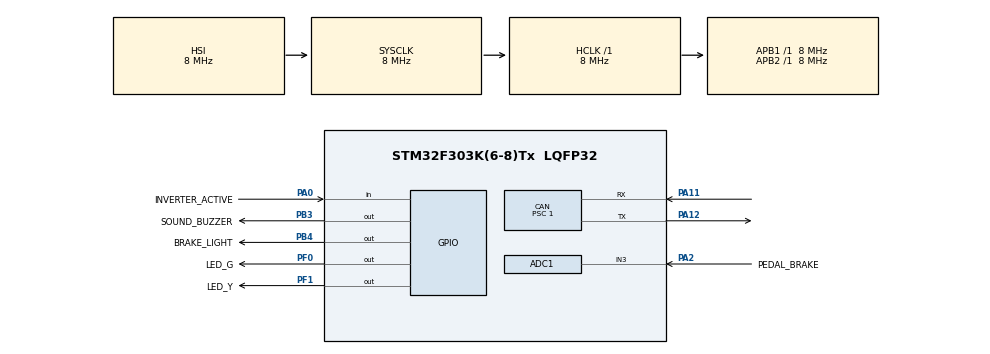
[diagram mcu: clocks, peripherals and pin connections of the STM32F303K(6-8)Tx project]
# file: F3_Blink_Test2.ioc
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ADC1.Channel-0\#ChannelRegularConversion=ADC_CHANNEL_3
ADC1.NbrOfConversionFlag=1
ADC1.Offset-0\#ChannelRegularConversion=0
ADC1.OffsetNumber-0\#ChannelRegularConversion=ADC_OFFSET_NONE
ADC1.Rank-0\#ChannelRegularConversion=1
ADC1.SamplingTime-0\#ChannelRegularConversion=ADC_SAMPLETIME_1CYCLE_5
ADC1.SubFamily=STM32F303x8
ADC1.master=1
CAN.BS1=CAN_BS1_13TQ
CAN.BS2=CAN_BS2_2TQ
CAN.CalculateTimeQuantum=125.0
CAN.Prescaler=1
FREERTOS.Tasks01=blinkingLed,0,128,blinkingLedEntry,Default,NULL,Dynamic,NULL,NULL;inverterCheck,0,128,inverterCheckEntry,Default,NULL,Dynamic,NULL,NULL;brakeCheck,0,128,brakeCheckEntry,Default,NULL,Dynamic,NULL,NULL
FREERTOS.configTOTAL_HEAP_SIZE=0xd00
Mcu.Family=STM32F3
Mcu.Name=STM32F303K(6-8)Tx
Mcu.Package=LQFP32
NVIC.CAN_RX0_IRQn=true\:5\:0\:false\:false\:true\:true\:true\:true
NVIC.CAN_TX_IRQn=true\:5\:0\:false\:false\:true\:true\:true\:true
NVIC.PriorityGroup=NVIC_PRIORITYGROUP_4
NVIC.TIM1_UP_TIM16_IRQn=true\:0\:0\:false\:false\:true\:false\:false\:true
NVIC.TimeBase=TIM1_UP_TIM16_IRQn
NVIC.TimeBaseIP=TIM1
PA0.GPIO_Label=INVERTER_ACTIVE
PA0.GPIO_PuPd=GPIO_PULLDOWN
PA0.Signal=GPIO_Input
PA11.Mode=Master
PA11.Signal=CAN_RX
PA12.Mode=Master
PA12.Signal=CAN_TX
PA13.Mode=Serial_Wire
PA13.Signal=SYS_JTMS-SWDIO
PA14.Mode=Serial_Wire
PA14.Signal=SYS_JTCK-SWCLK
PA2.GPIO_Label=PEDAL_BRAKE
PA2.Mode=IN3-Single-Ended
PA2.Signal=ADC1_IN3
PB3.GPIO_Label=SOUND_BUZZER
PB3.GPIO_ModeDefaultOutputPP=GPIO_MODE_OUTPUT_PP
PB3.GPIO_PuPd=GPIO_NOPULL
PB3.PinState=GPIO_PIN_RESET
PB3.Signal=GPIO_Output
PB4.GPIO_Label=BRAKE_LIGHT
PB4.GPIO_ModeDefaultOutputPP=GPIO_MODE_OUTPUT_PP
PB4.GPIO_PuPd=GPIO_NOPULL
PB4.PinState=GPIO_PIN_RESET
PB4.Signal=GPIO_Output
PF0\ /\ OSC_IN.GPIO_Label=LED_G
PF0\ /\ OSC_IN.GPIO_ModeDefaultOutputPP=GPIO_MODE_OUTPUT_PP
PF0\ /\ OSC_IN.PinState=GPIO_PIN_SET
PF0\ /\ OSC_IN.Signal=GPIO_Output
PF1\ /\ OSC_OUT.GPIO_Label=LED_Y
PF1\ /\ OSC_OUT.GPIO_ModeDefaultOutputPP=GPIO_MODE_OUTPUT_PP
PF1\ /\ OSC_OUT.PinState=GPIO_PIN_SET
PF1\ /\ OSC_OUT.Signal=GPIO_Output
ProjectManager.HeapSize=0x200
ProjectManager.StackSize=0x400
ProjectManager.TargetToolchain=SW4STM32
RCC.AHBFreq_Value=8000000
RCC.APB1Freq_Value=8000000
RCC.APB1TimFreq_Value=8000000
RCC.APB2Freq_Value=8000000
RCC.APB2TimFreq_Value=8000000
RCC.CortexFreq_Value=8000000
RCC.DATA_CACHE_ENABLE=0
RCC.HCLKFreq_Value=8000000
RCC.HSE_VALUE=8000000
RCC.HSI_VALUE=8000000
RCC.INSTRUCTION_CACHE_ENABLE=0
RCC.PLLMUL=RCC_PLL_MUL4
RCC.SYSCLKFreq_VALUE=8000000
VP_FREERTOS_VS_CMSIS_V1.Mode=CMSIS_V1
VP_SYS_VS_tim1.Mode=TIM1
board=custom

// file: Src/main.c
/* USER CODE BEGIN Header */
/**
  ******************************************************************************
  * @file           : main.c
  * @brief          : Main program body
  ******************************************************************************
  * @attention
  *
  * <h2><center>&copy; Copyright (c) 2020 STMicroelectronics.
  * All rights reserved.</center></h2>
  *
  * This software component is licensed by ST under Ultimate Liberty license
  * SLA0044, the "License"; You may not use this file except in compliance with
  * the License. You may obtain a copy of the License at:
  *                             www.st.com/SLA0044
  *
  ******************************************************************************
  */
/* USER CODE END Header */

#include "main.h"
#include "cmsis_os.h"
#include "adc.h"
#include "can.h"
#include "gpio.h"

/* USER CODE BEGIN PV */
/* Private variables ---------------------------------------------------------*/

/* USER CODE END PV */

void SystemClock_Config(void);
void MX_FREERTOS_Init(void);
/* USER CODE BEGIN PFP */
/* Private function prototypes -----------------------------------------------*/

/* USER CODE END PFP */

int main(void)
{

  /* MCU Configuration--------------------------------------------------------*/

  /* Reset of all peripherals, Initializes the Flash interface and the Systick. */
  HAL_Init();

  /* Configure the system clock */
  SystemClock_Config();

  /* Initialize all configured peripherals */
  MX_GPIO_Init();
  MX_CAN_Init();
  MX_ADC1_Init();
  /* USER CODE BEGIN 2 */
  JDO_CanInit();
  /* USER CODE END 2 */

  /* Call init function for freertos objects (in freertos.c) */
  MX_FREERTOS_Init();

  /* Start scheduler */
  osKernelStart();

  /* We should never get here as control is now taken by the scheduler */

  /* Infinite loop */
  while (1)
  {

  }
}

void SystemClock_Config(void)
{
  RCC_OscInitTypeDef RCC_OscInitStruct = {0};
  RCC_ClkInitTypeDef RCC_ClkInitStruct = {0};
  RCC_PeriphCLKInitTypeDef PeriphClkInit = {0};

  /** Initializes the CPU, AHB and APB busses clocks
  */
  RCC_OscInitStruct.OscillatorType = RCC_OSCILLATORTYPE_HSI;
  RCC_OscInitStruct.HSIState = RCC_HSI_ON;
  RCC_OscInitStruct.HSICalibrationValue = RCC_HSICALIBRATION_DEFAULT;
  RCC_OscInitStruct.PLL.PLLState = RCC_PLL_ON;
  RCC_OscInitStruct.PLL.PLLSource = RCC_PLLSOURCE_HSI;
  RCC_OscInitStruct.PLL.PLLMUL = RCC_PLL_MUL4;
  if (HAL_RCC_OscConfig(&RCC_OscInitStruct) != HAL_OK)
  {
    Error_Handler();
  }
  /** Initializes the CPU, AHB and APB busses clocks
  */
  RCC_ClkInitStruct.ClockType = RCC_CLOCKTYPE_HCLK|RCC_CLOCKTYPE_SYSCLK
                              |RCC_CLOCKTYPE_PCLK1|RCC_CLOCKTYPE_PCLK2;
  RCC_ClkInitStruct.SYSCLKSource = RCC_SYSCLKSOURCE_HSI;
  RCC_ClkInitStruct.AHBCLKDivider = RCC_SYSCLK_DIV1;
  RCC_ClkInitStruct.APB1CLKDivider = RCC_HCLK_DIV1;
  RCC_ClkInitStruct.APB2CLKDivider = RCC_HCLK_DIV1;

  if (HAL_RCC_ClockConfig(&RCC_ClkInitStruct, FLASH_LATENCY_0) != HAL_OK)
  {
    Error_Handler();
  }
  PeriphClkInit.PeriphClockSelection = RCC_PERIPHCLK_ADC12;
  PeriphClkInit.Adc12ClockSelection = RCC_ADC12PLLCLK_DIV1;
  if (HAL_RCCEx_PeriphCLKConfig(&PeriphClkInit) != HAL_OK)
  {
    Error_Handler();
  }
}

void HAL_TIM_PeriodElapsedCallback(TIM_HandleTypeDef *htim)
{
  if (htim->Instance == TIM1) {
    HAL_IncTick();
  }
}

void Error_Handler(void)
{
  while(1)
  {
  }
}

/************************ (C) COPYRIGHT STMicroelectronics *****END OF FILE****/

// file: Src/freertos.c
/* USER CODE BEGIN Header */
/**
  ******************************************************************************
  * File Name          : freertos.c
  * Description        : Code for freertos applications
  ******************************************************************************
  * This notice applies to any and all portions of this file
  * that are not between comment pairs USER CODE BEGIN and
  * USER CODE END. Other portions of this file, whether
  * inserted by the user or by software development tools
  * are owned by their respective copyright owners.
  *
  * Copyright (c) 2018 STMicroelectronics International N.V.
  * All rights reserved.
  *
  * Redistribution and use in source and binary forms, with or without
  * modification, are permitted, provided that the following conditions are met:
  *
  * 1. Redistribution of source code must retain the above copyright notice,
  *    this list of conditions and the following disclaimer.
  * 2. Redistributions in binary form must reproduce the above copyright notice,
  *    this list of conditions and the following disclaimer in the documentation
  *    and/or other materials provided with the distribution.
  * 3. Neither the name of STMicroelectronics nor the names of other
  *    contributors to this software may be used to endorse or promote products
  *    derived from this software without specific written permission.
  * 4. This software, including modifications and/or derivative works of this
  *    software, must execute solely and exclusively on microcontroller or
  *    microprocessor devices manufactured by or for STMicroelectronics.
  * 5. Redistribution and use of this software other than as permitted under
  *    this license is void and will automatically terminate your rights under
  *    this license.
  *
  * THIS SOFTWARE IS PROVIDED BY STMICROELECTRONICS AND CONTRIBUTORS "AS IS"
  * AND ANY EXPRESS, IMPLIED OR STATUTORY WARRANTIES, INCLUDING, BUT NOT
  * LIMITED TO, THE IMPLIED WARRANTIES OF MERCHANTABILITY, FITNESS FOR A
  * PARTICULAR PURPOSE AND NON-INFRINGEMENT OF THIRD PARTY INTELLECTUAL PROPERTY
  * RIGHTS ARE DISCLAIMED TO THE FULLEST EXTENT PERMITTED BY LAW. IN NO EVENT
  * SHALL STMICROELECTRONICS OR CONTRIBUTORS BE LIABLE FOR ANY DIRECT, INDIRECT,
  * INCIDENTAL, SPECIAL, EXEMPLARY, OR CONSEQUENTIAL DAMAGES (INCLUDING, BUT NOT
  * LIMITED TO, PROCUREMENT OF SUBSTITUTE GOODS OR SERVICES; LOSS OF USE, DATA,
  * OR PROFITS; OR BUSINESS INTERRUPTION) HOWEVER CAUSED AND ON ANY THEORY OF
  * LIABILITY, WHETHER IN CONTRACT, STRICT LIABILITY, OR TORT (INCLUDING
  * NEGLIGENCE OR OTHERWISE) ARISING IN ANY WAY OUT OF THE USE OF THIS SOFTWARE,
  * EVEN IF ADVISED OF THE POSSIBILITY OF SUCH DAMAGE.
  *
  ******************************************************************************
  */
/* USER CODE END Header */

#include "FreeRTOS.h"
#include "task.h"
#include "main.h"
#include "cmsis_os.h"

/* USER CODE BEGIN Includes */
#include "can.h"
#include "adc.h"
/* USER CODE END Includes */

/* USER CODE BEGIN PD */
//#define ph_debug
/* USER CODE END PD */

/* USER CODE BEGIN Variables */
volatile uint8_t nCM =0;

/* USER CODE END Variables */
osThreadId blinkingLedHandle;
osThreadId inverterCheckHandle;
osThreadId brakeCheckHandle;

void blinkingLedEntry(void const * argument);
void inverterCheckEntry(void const * argument);
void brakeCheckEntry(void const * argument);

void MX_FREERTOS_Init(void); /* (MISRA C 2004 rule 8.1) */

void MX_FREERTOS_Init(void) {

  /* Create the thread(s) */
  /* definition and creation of blinkingLed */
  osThreadDef(blinkingLed, blinkingLedEntry, osPriorityNormal, 0, 128);
  blinkingLedHandle = osThreadCreate(osThread(blinkingLed), NULL);

  /* definition and creation of inverterCheck */
  osThreadDef(inverterCheck, inverterCheckEntry, osPriorityNormal, 0, 128);
  inverterCheckHandle = osThreadCreate(osThread(inverterCheck), NULL);

  /* definition and creation of brakeCheck */
  osThreadDef(brakeCheck, brakeCheckEntry, osPriorityNormal, 0, 128);
  brakeCheckHandle = osThreadCreate(osThread(brakeCheck), NULL);

}

void blinkingLedEntry(void const * argument)
{

  /* USER CODE BEGIN blinkingLedEntry */
  /* Infinite loop */
  for(;;)
  {
    vTaskDelay(pdMS_TO_TICKS(1));
    HAL_GPIO_TogglePin(LED_Y_GPIO_Port, LED_Y_Pin);
    /* Infinite loop */
    for(;;)
    {
      HAL_GPIO_TogglePin(LED_Y_GPIO_Port, LED_Y_Pin);
      vTaskDelay(pdMS_TO_TICKS(200));
    }
  }
  /* USER CODE END blinkingLedEntry */
}

void inverterCheckEntry(void const * argument)
{
  /* USER CODE BEGIN inverterCheckEntry */
  /* Infinite loop */
  int inverterActive = 0;
  for(;;)
  {
    vTaskDelay(pdMS_TO_TICKS(1));
    if (HAL_GPIO_ReadPin(INVERTER_ACTIVE_GPIO_Port, INVERTER_ACTIVE_Pin) != inverterActive)
    {
      if (!inverterActive)
      {
        inverterActive = 1;
        HAL_GPIO_TogglePin(SOUND_BUZZER_GPIO_Port, SOUND_BUZZER_Pin);
        HAL_GPIO_TogglePin(LED_G_GPIO_Port, LED_G_Pin);
        vTaskDelay(pdMS_TO_TICKS(1500));
        HAL_GPIO_TogglePin(SOUND_BUZZER_GPIO_Port, SOUND_BUZZER_Pin);
        HAL_GPIO_TogglePin(LED_G_GPIO_Port, LED_G_Pin);
      }
      else
      {
        inverterActive = 0;
      }
    }
  }
  /* USER CODE END inverterCheckEntry */
}

void brakeCheckEntry(void const * argument)
{
  /* USER CODE BEGIN brakeCheckEntry */
  /* Infinite loop */

  uint32_t initialPedalBreakValue;
  uint32_t pedalBreakValue;
  float initialVoltage;
  float voltage;

  HAL_ADC_Start(&hadc1);
  HAL_ADC_PollForConversion(&hadc1, HAL_MAX_DELAY);
  initialPedalBreakValue = HAL_ADC_GetValue(&hadc1); // Read value (0–4095 on 12-bit ADC)
  initialVoltage = (initialPedalBreakValue / 4095.0f) * 3.3f;

  for(;;)
  {
    vTaskDelay(pdMS_TO_TICKS(1));
    HAL_ADC_Start(&hadc1);
    HAL_ADC_PollForConversion(&hadc1, HAL_MAX_DELAY);
    pedalBreakValue = HAL_ADC_GetValue(&hadc1); // Read value (0–4095 on 12-bit ADC)
    if (pedalBreakValue > (initialPedalBreakValue + initialPedalBreakValue / 100)) {
      HAL_GPIO_WritePin(BRAKE_LIGHT_GPIO_Port, BRAKE_LIGHT_Pin, GPIO_PIN_SET);
    } else {
      HAL_GPIO_WritePin(BRAKE_LIGHT_GPIO_Port, BRAKE_LIGHT_Pin, GPIO_PIN_RESET);
    }

    voltage = (pedalBreakValue / 4095.0f) * 3.3f;
  }
  /* USER CODE END brakeCheckEntry */
}

/************************ (C) COPYRIGHT STMicroelectronics *****END OF FILE****/
